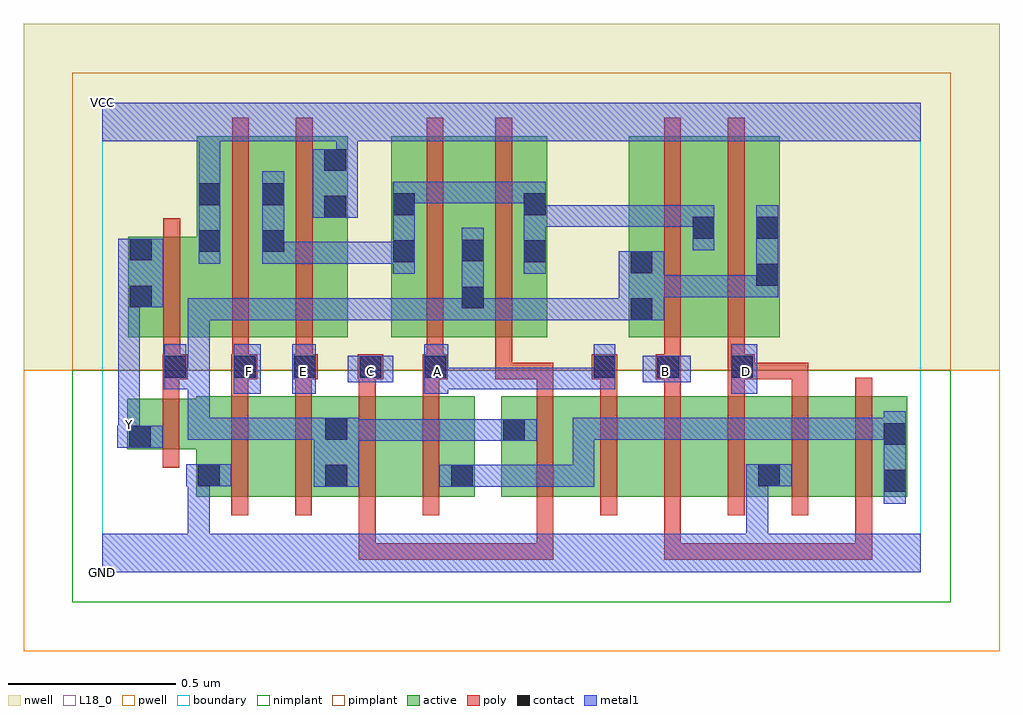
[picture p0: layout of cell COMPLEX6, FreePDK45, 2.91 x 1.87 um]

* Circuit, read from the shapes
.subckt COMPLEX6 A B C D E F GND VCC Y
M1 GND n1 Y VSUBS nfet w=0.15u l=0.05u
M2 n2 F GND VSUBS nfet w=0.3u l=0.05u
M3 n1 E n2 VSUBS nfet w=0.3u l=0.05u
M4 n3 C n1 VSUBS nfet w=0.3u l=0.05u
M5 n4 A n3 VSUBS nfet w=0.3u l=0.05u
M6 n5 C n1 VSUBS nfet w=0.3u l=0.05u
M7 n6 A n5 VSUBS nfet w=0.3u l=0.05u
M8 n7 B n6 VSUBS nfet w=0.3u l=0.05u
M9 GND D n7 VSUBS nfet w=0.3u l=0.05u
M10 n8 D GND VSUBS nfet w=0.3u l=0.05u
M11 n4 B n8 VSUBS nfet w=0.3u l=0.05u
M12 VCC n1 Y n9 pfet w=0.3u l=0.05u
M13 n10 F VCC n9 pfet w=0.6u l=0.05u
M14 VCC E n10 n9 pfet w=0.6u l=0.05u
M15 n1 A n10 n9 pfet w=0.6u l=0.05u
M16 n10 C n1 n9 pfet w=0.6u l=0.05u
M17 n10 B n1 n9 pfet w=0.6u l=0.05u
M18 n1 D n10 n9 pfet w=0.6u l=0.05u
.ends

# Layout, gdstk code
import gdstk
lib = gdstk.Library(unit=1e-6, precision=1e-09)
def R(c, l, rs):  # rectangles x0, y0, x1, y1
    for r in rs: c.add(gdstk.rectangle(r[:2], r[2:], *l))
def A(c, l, x, y, w, h, nx, ny, dx, dy):  # array of equal rectangles
    R(c, l, [(x+i*dx, y+j*dy, x+i*dx+w, y+j*dy+h) for i in range(nx) for j in range(ny)])
active = (1, 0)
pwell = (2, 0)
nwell = (3, 0)
nimplant = (4, 0)
pimplant = (5, 0)
poly = (9, 0)
contact = (10, 0)
metal1 = (11, 0)
L18_0 = (18, 0)
boundary = (235, 0)

complex6 = lib.new_cell('COMPLEX6')
A(complex6, active, 0.472, 0.707, 0.075, 0.493, 3, 1, 0.39, 0)
R(complex6, active, [(0.28,0.225,0.505,0.525), (0.505,0.225,0.735,0.525), (0.66,0.225,0.885,0.525), (0.885,0.225,1.11,0.525), (1.035,0.225,1.11,0.525), (1.19,0.225,1.415,0.525), (1.415,0.225,1.605,0.525), (1.605,0.225,1.795,0.525), (1.795,0.225,2.025,0.525), (1.95,0.225,2.175,0.525), (1.95,0.225,2.025,0.517), (2.175,0.225,2.4,0.525), (2.325,0.235,2.4,0.525), (0.66,0.247,0.735,0.465), (1.19,0.247,1.295,0.525), (0.28,0.252,0.355,0.397), (0.075,0.367,0.355,0.517), (0.075,0.367,0.15,0.517), (0.077,0.7,0.152,1), (0.077,0.7,0.357,1), (0.282,0.7,0.547,1.3), (0.472,0.7,0.732,1.3), (0.862,0.7,1.142,1.3), (1.067,0.7,1.327,1.3), (1.067,0.7,1.142,1.07), (1.57,0.7,1.83,1.3), (1.57,0.7,1.645,1.07), (1.755,0.7,2.02,1.3), (1.945,0.7,2.02,1.2), (0.282,0.702,0.357,1.3), (0.657,0.707,0.732,1.3), (1.755,0.707,1.83,1.2)])
R(complex6, pwell, [(-0.235,-0.235,2.675,0.602)])
R(complex6, nwell, [(-0.235,0.602,2.675,1.635)])
R(complex6, nimplant, [(-0.09,-0.09,2.53,0.602)])
R(complex6, pimplant, [(-0.09,0.602,2.53,1.49)])
A(complex6, poly, 0.385, 0.17, 0.05, 0.41, 4, 1, 0.19, 0)
A(complex6, poly, 1.295, 0.17, 0.05, 0.41, 6, 1, 0.19, 0)
A(complex6, poly, 0.385, 0.53, 0.05, 0.095, 4, 1, 0.19, 0)
A(complex6, poly, 1.295, 0.53, 0.05, 0.095, 5, 1, 0.19, 0)
R(complex6, poly, [(0.765,0.037,0.815,0.22), (0.765,0.037,0.815,0.087), (0.765,0.037,0.947,0.087), (0.897,0.037,0.947,0.087), (0.897,0.037,0.947,0.087), (0.897,0.037,0.947,0.087), (0.897,0.037,1.09,0.087), (1.04,0.037,1.09,0.087), (1.04,0.037,1.09,0.087), (1.04,0.037,1.09,0.087), (1.04,0.037,1.345,0.087), (1.295,0.037,1.345,0.22), (1.295,0.037,1.345,0.087), (1.675,0.037,1.725,0.22), (1.675,0.037,1.725,0.087), (1.675,0.037,1.725,0.087), (1.675,0.037,1.725,0.087), (1.675,0.037,1.972,0.087), (1.922,0.037,1.972,0.087), (1.922,0.037,1.972,0.087), (1.922,0.037,1.972,0.087), (1.922,0.037,2.162,0.087), (2.112,0.037,2.162,0.087), (2.112,0.037,2.295,0.087), (2.245,0.037,2.295,0.22), (2.245,0.037,2.295,0.087), (2.245,0.037,2.295,0.087), (2.245,0.037,2.295,0.087), (0.18,0.312,0.23,0.572), (0.18,0.522,0.23,0.625), (0.18,0.575,0.255,0.65), (0.385,0.575,0.462,0.65), (0.567,0.575,0.642,0.65), (0.762,0.575,0.837,0.65), (0.955,0.575,1.03,0.65), (1.172,0.575,1.222,0.695), (1.172,0.575,1.345,0.625), (1.46,0.575,1.535,0.65), (1.65,0.575,1.725,0.65), (1.865,0.575,1.945,0.65), (1.895,0.575,1.945,0.625), (1.895,0.575,1.945,0.625), (1.895,0.575,2.105,0.625), (2.055,0.575,2.105,0.625), (0.182,0.6,0.232,0.695), (0.387,0.6,0.437,0.695), (0.577,0.6,0.627,0.695), (0.967,0.6,1.017,0.695), (1.675,0.6,1.725,0.695), (1.865,0.6,1.915,0.695), (0.182,0.645,0.232,1.055), (0.387,0.645,0.437,1.355), (0.577,0.645,0.627,1.355), (0.967,0.645,1.017,1.355), (1.172,0.645,1.222,1.355), (1.675,0.645,1.725,1.355), (1.865,0.645,1.915,1.355)])
R(complex6, contact, [(2.33,0.24,2.395,0.305), (0.665,0.255,0.73,0.32), (1.04,0.255,1.105,0.32), (0.285,0.257,0.35,0.322), (1.955,0.257,2.02,0.322), (0.08,0.372,0.145,0.437), (2.33,0.38,2.395,0.445), (1.195,0.392,1.26,0.457), (0.665,0.395,0.73,0.46), (0.185,0.58,0.25,0.645), (0.392,0.58,0.457,0.645), (0.572,0.58,0.637,0.645), (0.767,0.58,0.832,0.645), (0.96,0.58,1.025,0.645), (1.465,0.58,1.53,0.645), (1.655,0.58,1.72,0.645), (1.875,0.58,1.94,0.645), (1.575,0.752,1.64,0.817), (1.072,0.787,1.137,0.852), (0.082,0.79,0.147,0.855), (1.95,0.855,2.015,0.92), (1.575,0.892,1.64,0.957), (0.867,0.925,0.932,0.99), (1.257,0.925,1.322,0.99), (1.072,0.927,1.137,0.992), (0.082,0.93,0.147,0.995), (0.287,0.955,0.352,1.02), (0.477,0.955,0.542,1.02), (1.76,0.995,1.825,1.06), (1.95,0.995,2.015,1.06), (0.662,1.057,0.727,1.122), (0.867,1.065,0.932,1.13), (1.257,1.065,1.322,1.13), (0.287,1.095,0.352,1.16), (0.477,1.095,0.542,1.16), (0.662,1.197,0.727,1.262)])
R(complex6, metal1, [(0,0,2.44,0.115), (0.255,0.05,0.32,0.322), (1.92,0.05,1.985,0.322), (2.33,0.205,2.395,0.48), (0.63,0.255,0.765,0.46), (1.005,0.255,1.14,0.32), (1.075,0.255,1.17,0.32), (1.105,0.255,1.17,0.32), (1.105,0.255,1.33,0.32), (1.265,0.255,1.33,0.32), (1.265,0.255,1.467,0.32), (1.402,0.255,1.467,0.32), (1.402,0.255,1.467,0.46), (0.25,0.257,0.385,0.322), (0.255,0.257,0.32,0.322), (0.255,0.257,0.32,0.322), (1.92,0.257,1.985,0.322), (1.92,0.257,1.985,0.322), (1.92,0.257,2.055,0.322), (0.045,0.372,0.18,0.437), (0.047,0.372,0.112,0.437), (0.047,0.372,0.112,0.507), (0.7,0.392,0.765,0.457), (0.7,0.392,0.765,0.457), (0.7,0.392,0.932,0.457), (0.867,0.392,0.932,0.457), (0.867,0.392,1.032,0.457), (0.967,0.392,1.032,0.457), (0.967,0.392,1.07,0.457), (1.005,0.392,1.07,0.457), (1.005,0.392,1.225,0.457), (1.16,0.392,1.295,0.457), (0.255,0.395,0.32,0.46), (0.255,0.395,0.405,0.46), (0.255,0.395,0.32,0.61), (0.34,0.395,0.405,0.46), (0.34,0.395,0.555,0.46), (0.49,0.395,0.555,0.46), (0.49,0.395,0.555,0.46), (0.49,0.395,0.555,0.46), (0.49,0.395,0.695,0.46), (1.402,0.395,1.467,0.46), (1.402,0.395,1.467,0.46), (1.402,0.395,1.467,0.46), (1.402,0.395,1.617,0.46), (1.552,0.395,1.617,0.46), (1.552,0.395,1.617,0.46), (1.552,0.395,1.617,0.46), (1.552,0.395,1.82,0.46), (1.755,0.395,1.82,0.46), (1.755,0.395,1.82,0.46), (1.755,0.395,1.82,0.46), (1.755,0.395,2.015,0.46), (1.95,0.395,2.015,0.46), (1.95,0.395,2.152,0.46), (2.087,0.395,2.152,0.46), (2.087,0.395,2.152,0.46), (2.087,0.395,2.152,0.46), (2.087,0.395,2.395,0.46), (2.33,0.395,2.395,0.46), (2.33,0.395,2.395,0.46), (0.047,0.442,0.112,0.855), (0.392,0.532,0.472,0.68), (0.567,0.532,0.637,0.68), (0.96,0.532,1.032,0.68), (1.875,0.532,1.952,0.68), (0.185,0.545,0.32,0.61), (0.185,0.545,0.25,0.68), (0.255,0.545,0.32,0.61), (0.255,0.545,0.32,0.817), (0.967,0.545,1.17,0.61), (1.105,0.545,1.17,0.61), (1.105,0.545,1.17,0.61), (1.105,0.545,1.17,0.61), (1.105,0.545,1.33,0.61), (1.265,0.545,1.33,0.61), (1.265,0.545,1.33,0.61), (1.265,0.545,1.33,0.61), (1.265,0.545,1.53,0.61), (1.465,0.545,1.53,0.68), (0.732,0.567,0.867,0.645), (1.612,0.567,1.755,0.645), (0.255,0.752,0.32,0.817), (0.255,0.752,0.405,0.817), (0.34,0.752,0.405,0.817), (0.34,0.752,0.555,0.817), (0.49,0.752,0.555,0.817), (0.49,0.752,0.555,0.817), (0.49,0.752,0.555,0.817), (0.49,0.752,0.775,0.817), (0.71,0.752,0.775,0.817), (0.71,0.752,0.775,0.817), (0.71,0.752,0.775,0.817), (0.71,0.752,0.932,0.817), (0.867,0.752,0.932,0.817), (0.867,0.752,0.932,0.817), (0.867,0.752,0.932,0.817), (0.867,0.752,1.137,0.817), (1.072,0.752,1.137,1.027), (1.072,0.752,1.17,0.817), (1.105,0.752,1.17,0.817), (1.105,0.752,1.307,0.817), (1.242,0.752,1.307,0.817), (1.242,0.752,1.467,0.817), (1.402,0.752,1.467,0.817), (1.402,0.752,1.467,0.817), (1.402,0.752,1.467,0.817), (1.402,0.752,1.605,0.817), (1.54,0.752,1.675,0.957), (0.047,0.79,0.182,0.995), (1.61,0.82,1.675,0.885), (1.61,0.82,1.675,0.885), (1.61,0.82,1.847,0.885), (1.782,0.82,1.847,0.885), (1.782,0.82,2.015,0.885), (1.95,0.82,2.015,0.885), (1.95,0.82,2.015,0.885), (1.95,0.82,2.015,1.095), (0.867,0.89,0.932,1.165), (1.257,0.89,1.322,1.165), (0.287,0.92,0.352,1.195), (0.477,0.92,0.542,0.985), (0.477,0.92,0.542,0.985), (0.477,0.92,0.542,1.195), (0.477,0.92,0.795,0.985), (0.73,0.92,0.795,0.985), (0.73,0.92,0.795,0.985), (0.73,0.92,0.795,0.985), (0.73,0.92,0.932,0.985), (1.76,0.96,1.825,1.095), (1.257,1.03,1.48,1.095), (1.415,1.03,1.48,1.095), (1.415,1.03,1.647,1.095), (1.582,1.03,1.647,1.095), (1.582,1.03,1.647,1.095), (1.582,1.03,1.647,1.095), (1.582,1.03,1.825,1.095), (0.627,1.057,0.762,1.262), (0.867,1.1,0.932,1.165), (0.867,1.1,0.932,1.165), (0.867,1.1,1.07,1.165), (1.005,1.1,1.07,1.165), (1.005,1.1,1.17,1.165), (1.105,1.1,1.17,1.165), (1.105,1.1,1.322,1.165), (1.257,1.1,1.322,1.165), (1.257,1.1,1.322,1.165), (0.287,1.13,0.352,1.35), (0.697,1.197,0.762,1.35), (0,1.285,2.44,1.4)])
A(complex6, L18_0, 0.567, 0.567, 0.065, 0.065, 3, 1, 0.2, 0)
R(complex6, L18_0, [(0,0,2.44,0.115), (0.255,0.05,0.32,0.322), (1.92,0.05,1.985,0.322), (0.25,0.257,0.385,0.322), (0.255,0.257,0.32,0.322), (0.255,0.257,0.32,0.322), (1.92,0.257,2.055,0.322), (1.92,0.257,1.985,0.322), (1.92,0.257,1.985,0.322), (0.045,0.372,0.18,0.437), (0.047,0.372,0.112,0.507), (0.047,0.372,0.112,0.437), (0.047,0.407,0.112,0.472), (0.047,0.442,0.112,0.855), (0.392,0.532,0.472,0.68), (0.567,0.532,0.637,0.68), (0.96,0.532,1.032,0.68), (1.875,0.532,1.952,0.68), (0.967,0.545,1.17,0.61), (1.105,0.545,1.17,0.61), (1.105,0.545,1.17,0.61), (1.105,0.545,1.17,0.61), (1.105,0.545,1.33,0.61), (1.265,0.545,1.33,0.61), (1.265,0.545,1.33,0.61), (1.265,0.545,1.33,0.61), (1.265,0.545,1.53,0.61), (1.465,0.545,1.53,0.68), (0.407,0.567,0.472,0.632), (0.732,0.567,0.867,0.645), (1.612,0.567,1.755,0.645), (1.647,0.567,1.712,0.632), (1.887,0.567,1.952,0.632), (0.047,0.79,0.182,0.995), (0.287,0.92,0.352,1.195), (0.627,1.057,0.762,1.262), (0.287,1.13,0.352,1.35), (0.697,1.197,0.762,1.35), (0,1.285,2.44,1.4)])
R(complex6, boundary, [(0,0,2.44,1.4)])
complex6.add(gdstk.Label('A', (1,0.6), layer=11, texttype=0))
complex6.add(gdstk.Label('B', (1.68,0.6), layer=11, texttype=0))
complex6.add(gdstk.Label('C', (0.8,0.6), layer=11, texttype=0))
complex6.add(gdstk.Label('D', (1.92,0.6), layer=11, texttype=0))
complex6.add(gdstk.Label('E', (0.6,0.6), layer=11, texttype=0))
complex6.add(gdstk.Label('F', (0.44,0.6), layer=11, texttype=0))
complex6.add(gdstk.Label('Y', (0.08,0.44), layer=11, texttype=0))
complex6.add(gdstk.Label('VCC', (0,1.4), layer=11, texttype=0))
complex6.add(gdstk.Label('GND', (0,0), layer=11, texttype=0))

lib.write_gds('COMPLEX6.gds')
